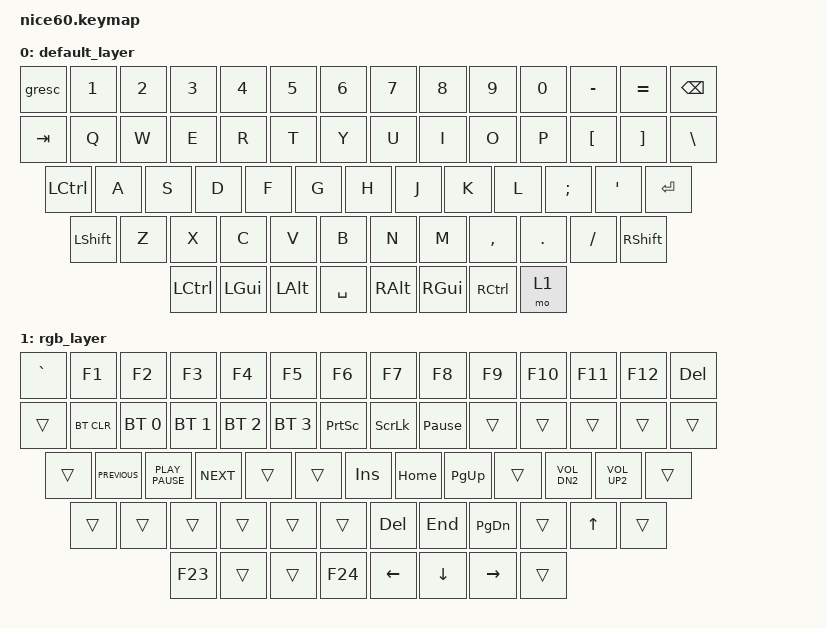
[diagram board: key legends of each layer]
/*
 * Copyright (c) 2021 Nick Winans
 *
 * SPDX-License-Identifier: MIT
 */

#include <behaviors.dtsi>
#include <dt-bindings/zmk/keys.h>
#include <dt-bindings/zmk/rgb.h>
#include <dt-bindings/zmk/bt.h>
#include <dt-bindings/zmk/outputs.h>
#include <dt-bindings/zmk/reset.h>
#include <dt-bindings/zmk/ext_power.h>

/ {
	keymap {
		compatible = "zmk,keymap";

		default_layer {
// ------------------------------------------------------------------------------------------
// | ESC |  1  |  2  |  3  |  4  |  5  |  6  |  7  |  8  |  9  |  0  |  -  |  =  |   BKSP   |
// | TAB  |  Q  |  W  |  E  |  R  |  T  |  Y  |  U  |  I  |  O  |  P  |  [  |  ]  |   "|"   |
// | CTL   |  A  |  S  |  D  |  F  |  G  |  H  |  J  |  K  |  L  |  ;  |  '  |     ENTER    |
// |  SHIFT  |  Z  |  X  |  C  |  V  |  B  |  N  |  M  |  ,  |  .  |  /  |      SHIFT       |
// |  CTL  |  WIN  |  ALT  |            SPACE              |  ALT  |  WIN  | CTL  |  MO(1)|
// ------------------------------------------------------------------------------------------
			bindings = <
	&gresc  &kp N1 &kp N2 &kp N3 &kp N4 &kp N5 &kp N6 &kp N7 &kp N8 &kp N9 &kp N0 &kp MINUS &kp EQUAL  &kp BSPC
	&kp TAB  &kp Q  &kp W  &kp E  &kp R  &kp T  &kp Y  &kp U  &kp I  &kp O  &kp P  &kp LBKT  &kp RBKT  &kp BSLH
	&kp LCTRL &kp A  &kp S  &kp D  &kp F  &kp G  &kp H  &kp J  &kp K  &kp L  &kp SEMI &kp SQT           &kp RET
	&kp LSHFT   &kp Z  &kp X  &kp C  &kp V  &kp B  &kp N  &kp M  &kp COMMA &kp DOT &kp FSLH           &kp RSHFT
	&kp LCTRL &kp LGUI &kp LALT             &kp SPACE                     &kp RALT  &kp RGUI   &kp RCTRL &mo 1
			>;
		};

		rgb_layer {
// ------------------------------------------------------------------------------------------------
// | GRAVE  | F1  | F2  | F3  | F4  | F5  | F6  | F7  | F8  | F9  | F10  | F11 | F12 |     DEL    |
// |      | BT CLR | BT1 | BT2  | BT3 | BT4 | PRSCR | SLCK | PAUSE |    |    |    |    |          |
// |         | PRV | P/P | NXT |       |      |  INS  | HOME | PGUP |   | VOL- | VOL+ |           |
// |             |     |      |     |     |     | DEL  | END | PGDN  |     | UP   |               |
// |   F23   |      |      |             F24                    | LEFT    | DOWN  | RIGHT |       |
// ------------------------------------------------------------------------------------------------
			bindings = <
	&kp GRAVE &kp F1    &kp F2    &kp F3  &kp F4       &kp F5          &kp F6          &kp F7          &kp F8   &kp F9   &kp F10  &kp F11 &kp F12          &kp DEL
	&trans  &bt BT_CLR    &bt BT_SEL 0    &bt BT_SEL 1   &bt BT_SEL 2   &bt BT_SEL 3   &kp PSCRN   &kp SLCK   &kp PAUSE_BREAK &trans   &trans   &trans   &trans        &trans
	&trans   &kp K_PREVIOUS  &kp K_PLAY_PAUSE  &kp K_NEXT  &trans  &trans  &kp INS   &kp HOME &kp PG_UP   &trans   &kp K_VOL_DN2      &kp K_VOL_UP2                   &trans
	&trans    &trans    &trans    &trans   &trans          &trans          &kp DEL         &kp END     &kp PG_DN   &trans   &kp UP                          &trans
	&kp F23      &trans       &trans                            &kp F24                                    &kp LEFT      &kp DOWN          &kp RIGHT        &trans
			>;
		};
	};
};
